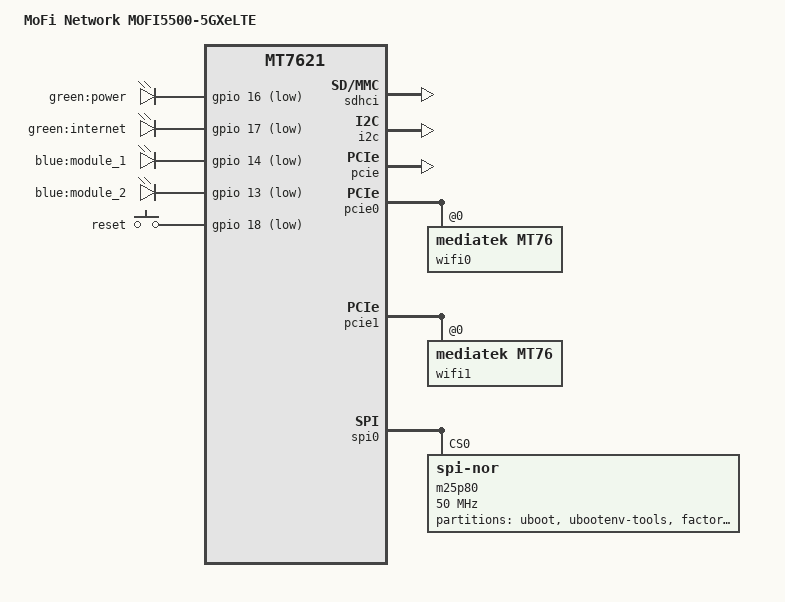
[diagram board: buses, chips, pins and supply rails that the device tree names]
// SPDX-License-Identifier: GPL-2.0-or-later OR MIT

#include "mt7621.dtsi"

#include <dt-bindings/gpio/gpio.h>
#include <dt-bindings/input/input.h>
#include <dt-bindings/leds/common.h>

/ {
	compatible = "mofinetwork,mofi5500-5gxelte", "mediatek,mt7621-soc";
	model = "MoFi Network MOFI5500-5GXeLTE";

	aliases {
		led-boot = &led_power;
		led-failsafe = &led_power;
		led-running = &led_power;
		led-upgrade = &led_power;
	};

	chosen {
		bootargs = "console=ttyS0,115200";
	};

	leds {
		compatible = "gpio-leds";

		led_power: power {
			label = "green:power";
			gpios = <&gpio 16 GPIO_ACTIVE_LOW>;
		};

		internet {
			label = "green:internet";
			gpios = <&gpio 17 GPIO_ACTIVE_LOW>;
		};

		module_1 {
			label = "blue:module_1";
			gpios = <&gpio 14 GPIO_ACTIVE_LOW>;
		};

		module_2 {
			label = "blue:module_2";
			gpios = <&gpio 13 GPIO_ACTIVE_LOW>;
		};
	};

	gpio-keys {
		compatible = "gpio-keys-polled";

		reset {
			label = "reset";
			gpios = <&gpio 18 GPIO_ACTIVE_LOW>;
			linux,code = <KEY_RESTART>;
		};
	};
};

&switch0 {
	ports {
		port@0 {
			status = "okay";
			reg = <0>;
			label = "lan1";
		};

		port@1 {
			status = "okay";
			reg = <1>;
			label = "lan2";
		};

		port@2 {
			status = "okay";
			reg = <2>;
			label = "lan3";
		};

		port@3 {
			status = "okay";
			reg = <3>;
			label = "lan4";
		};

		port@4 {
			status = "okay";
			reg = <4>;
			label = "wan";
		};
	};
};

&sdhci {
	status = "okay";
};

&i2c {
	status = "okay";
};

&pcie {
	status = "okay";
};

&pcie0 {
	wifi0: wifi@0,0 {
		compatible = "mediatek,mt76";
		reg = <0x0000 0 0 0 0>;
		mediatek,mtd-eeprom = <&factory 0x0000>;
		ieee80211-freq-limit = <2400000 2500000>;
	};
};

&pcie1 {
	wifi1: wifi@0,0 {
		compatible = "mediatek,mt76";
		reg = <0x0000 0 0 0 0>;
		mediatek,mtd-eeprom = <&factory 0x8000>;
		ieee80211-freq-limit = <5000000 6000000>;
	};
};

&spi0 {
	status = "okay";

	m25p80@0 {
		compatible = "jedec,spi-nor";
		reg = <0>;
		spi-max-frequency = <50000000>;

		partitions {
			compatible = "fixed-partitions";
			#address-cells = <1>;
			#size-cells = <1>;

			partition@0 {
				label = "uboot";
				reg = <0x0 0x30000>;
				read-only;
			};

			partition@30000 {
				label = "ubootenv-tools";
				reg = <0x30000 0x10000>;
			};

			factory: partition@40000 {
				label = "factory";
				reg = <0x40000 0x10000>;
				read-only;
			};

			partition@50000 {
				compatible = "denx,uimage";
				label = "firmware";
				reg = <0x50000 0x1ab0000>;
			};

			partition@1b00000 {
				label = "Recovery";
				reg = <0x1b00000 0x500000>;
			};
		};
	};
};
